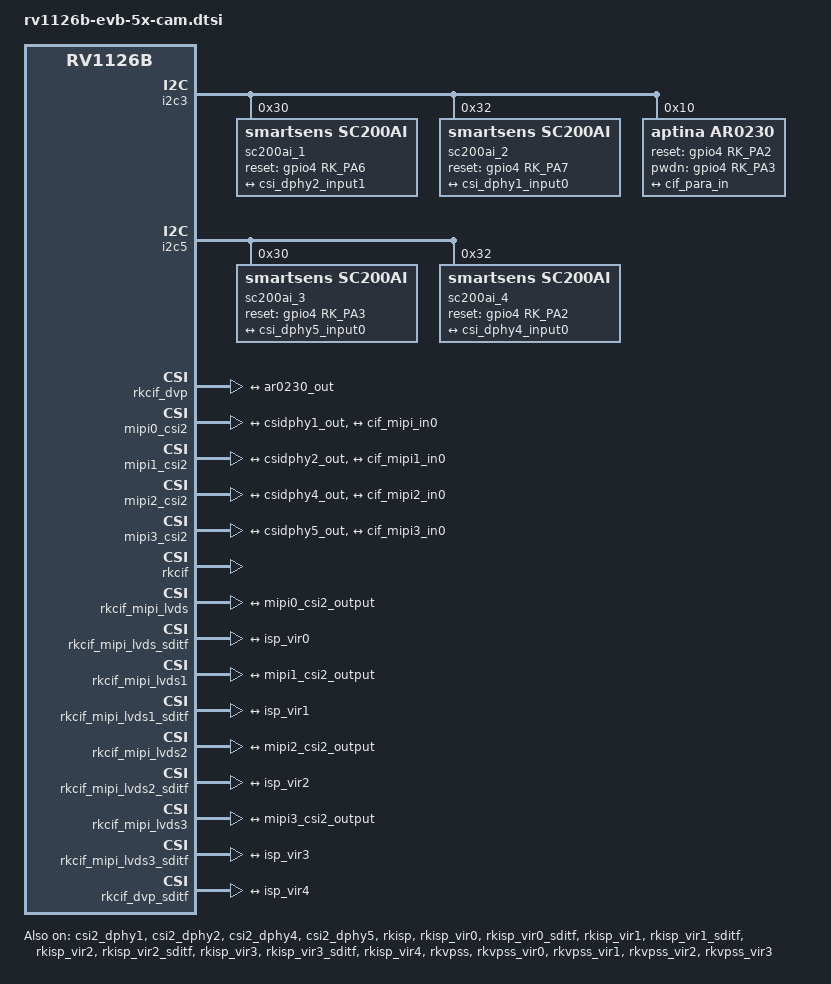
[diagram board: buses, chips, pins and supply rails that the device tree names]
// SPDX-License-Identifier: (GPL-2.0+ OR MIT)
/*
 * Copyright (c) 2025 Rockchip Electronics Co., Ltd.
 *
 */

/*
 * csi2_dphy1 -> csi0(rx0) clk0 + 2 lane 0/1
 * csi2_dphy2 -> csi0(rx0) clk1 + 2 lane 2/3
 * csi2_dphy4 -> csi1(rx1) clk0 + 2 lane 0/1
 * csi2_dphy5 -> csi1(rx1) clk1 + 2 lane 2/3
 */

&csi2_dphy1 {
	status = "okay";

	ports {
		#address-cells = <1>;
		#size-cells = <0>;
		port@0 {
			reg = <0>;
			#address-cells = <1>;
			#size-cells = <0>;

			csi_dphy1_input0: endpoint@1 {
				reg = <1>;
				remote-endpoint = <&sc200ai_2_out>;
				data-lanes = <1 2>;
			};
		};
		port@1 {
			reg = <1>;
			#address-cells = <1>;
			#size-cells = <0>;

			csidphy1_out: endpoint@0 {
				reg = <0>;
				remote-endpoint = <&mipi0_csi2_input>;
			};
		};
	};
};

&csi2_dphy2 {
	status = "okay";

	ports {
		#address-cells = <1>;
		#size-cells = <0>;
		port@0 {
			reg = <0>;
			#address-cells = <1>;
			#size-cells = <0>;

			csi_dphy2_input1: endpoint@1 {
				reg = <1>;
				remote-endpoint = <&sc200ai_1_out>;
				data-lanes = <1 2>;
			};
		};
		port@1 {
			reg = <1>;
			#address-cells = <1>;
			#size-cells = <0>;

			csidphy2_out: endpoint@0 {
				reg = <0>;
				remote-endpoint = <&mipi1_csi2_input>;
			};
		};
	};
};

&csi2_dphy4 {
	status = "okay";

	ports {
		#address-cells = <1>;
		#size-cells = <0>;
		port@0 {
			reg = <0>;
			#address-cells = <1>;
			#size-cells = <0>;

			csi_dphy4_input0: endpoint@1 {
				reg = <1>;
				remote-endpoint = <&sc200ai_4_out>;
				data-lanes = <1 2>;
			};
		};
		port@1 {
			reg = <1>;
			#address-cells = <1>;
			#size-cells = <0>;

			csidphy4_out: endpoint@0 {
				reg = <0>;
				remote-endpoint = <&mipi2_csi2_input>;
			};
		};
	};
};

&csi2_dphy5 {
	status = "okay";

	ports {
		#address-cells = <1>;
		#size-cells = <0>;
		port@0 {
			reg = <0>;
			#address-cells = <1>;
			#size-cells = <0>;

			csi_dphy5_input0: endpoint@1 {
				reg = <1>;
				remote-endpoint = <&sc200ai_5_out>;
				data-lanes = <1 2>;
			};

		};
		port@1 {
			reg = <1>;
			#address-cells = <1>;
			#size-cells = <0>;

			csidphy5_out: endpoint@0 {
				reg = <0>;
				remote-endpoint = <&mipi3_csi2_input>;
			};
		};
	};
};


&i2c3 {
	status = "okay";
	pinctrl-0 = <&i2c3m1_pins>;

	sc200ai_1: sc200ai-1@30 {
		compatible = "smartsens,sc200ai";
		status = "okay";
		reg = <0x30>;
		clocks = <&cru CLK_MIPI1_OUT2IO>;
		clock-names = "xvclk";
		reset-gpios = <&gpio4 RK_PA6 GPIO_ACTIVE_HIGH>;
		// pwdn-gpios = <&gpio4 RK_PA3 GPIO_ACTIVE_HIGH>;
		pinctrl-names = "default";
		pinctrl-0 = <&cam_clk1_pins>;
		rockchip,camera-module-index = <1>;
		rockchip,camera-module-facing = "back";
		rockchip,camera-module-name = "default";
		rockchip,camera-module-lens-name = "default";
		// rockchip,camera-module-sync-mode = "internal_master";
		port {
			sc200ai_1_out: endpoint {
				remote-endpoint = <&csi_dphy2_input1>;
				data-lanes = <1 2>;
			};
		};
	};

	sc200ai_2: sc200ai-2@32 {
		compatible = "smartsens,sc200ai";
		status = "okay";
		reg = <0x32>;
		clocks = <&cru CLK_MIPI0_OUT2IO>;
		clock-names = "xvclk";
		reset-gpios = <&gpio4 RK_PA7 GPIO_ACTIVE_HIGH>;
		// pwdn-gpios = <&gpio4 RK_PA2 GPIO_ACTIVE_HIGH>;
		pinctrl-names = "default";
		pinctrl-0 = <&cam_clk0_pins>;
		rockchip,camera-module-index = <0>;
		rockchip,camera-module-facing = "back";
		rockchip,camera-module-name = "default";
		rockchip,camera-module-lens-name = "default";
		// rockchip,camera-module-sync-mode = "external_master";
		port {
			sc200ai_2_out: endpoint {
				remote-endpoint = <&csi_dphy1_input0>;
				data-lanes = <1 2>;
			};
		};
	};


	ar0230: ar0230@10 {
		compatible = "aptina,ar0230";
		reg = <0x10>;
		clocks = <&cru CLK_CIF_OUT2IO>;
		clock-names = "xvclk";
		reset-gpios = <&gpio4 RK_PA2 GPIO_ACTIVE_HIGH>;
		pwdn-gpios = <&gpio4 RK_PA3 GPIO_ACTIVE_HIGH>;
		pinctrl-names = "default";
		// pinctrl-0 = <&vi_cifm0_pins>;
		rockchip,camera-module-index = <4>;
		rockchip,camera-module-facing = "back";
		rockchip,camera-module-name = "default";
		rockchip,camera-module-lens-name = "default";
		port {
		       ar0230_out: endpoint {
			       remote-endpoint = <&cif_para_in>;
		       };
		};
	};
};

&i2c5 {
	status = "okay";
	pinctrl-0 = <&i2c5m3_pins>;

	sc200ai_3: sc200ai-3@30 {
		compatible = "smartsens,sc200ai";
		status = "okay";
		reg = <0x30>;
		clocks = <&cru CLK_MIPI3_OUT2IO>;
		clock-names = "xvclk";
		/* pwdn need connect to reset */
		reset-gpios = <&gpio4 RK_PA3 GPIO_ACTIVE_HIGH>;
		pinctrl-names = "default";
		pinctrl-0 = <&cam_clk3_pins>;
		rockchip,camera-module-index = <3>;
		rockchip,camera-module-facing = "back";
		rockchip,camera-module-name = "default";
		rockchip,camera-module-lens-name = "default";
		// rockchip,camera-module-sync-mode = "external_master";
		port {
			sc200ai_5_out: endpoint {
				remote-endpoint = <&csi_dphy5_input0>;
				data-lanes = <1 2>;
			};
		};
	};
	sc200ai_4: sc200ai-4@32 {
		compatible = "smartsens,sc200ai";
		status = "okay";
		reg = <0x32>;
		clocks = <&cru CLK_MIPI2_OUT2IO>;
		clock-names = "xvclk";
		/* pwdn need connect to reset */
		reset-gpios = <&gpio4 RK_PA2 GPIO_ACTIVE_HIGH>;
		pinctrl-names = "default";
		pinctrl-0 = <&cam_clk2_pins>;
		rockchip,camera-module-index = <2>;
		rockchip,camera-module-facing = "back";
		rockchip,camera-module-name = "default";
		rockchip,camera-module-lens-name = "default";
		// rockchip,camera-module-sync-mode = "external_master";
		port {
			sc200ai_4_out: endpoint {
				remote-endpoint = <&csi_dphy4_input0>;
				data-lanes = <1 2>;
			};
		};
	};
};

&rkcif_dvp {
	status = "okay";

	/* configure according to pinctrl */
	cif-pins-group = <0>;

	pinctrl-names = "default";
	pinctrl-0 = <&vi_cifm0_pins>;
	port {
		#address-cells = <1>;
		#size-cells = <0>;

		/* Parallel bus endpoint */
		cif_para_in: endpoint@1 {
			reg = <1>;
			remote-endpoint = <&ar0230_out>;
		};
	};
};

&mipi0_csi2 {
	status = "okay";

	ports {
		#address-cells = <1>;
		#size-cells = <0>;

		port@0 {
			reg = <0>;
			#address-cells = <1>;
			#size-cells = <0>;

			mipi0_csi2_input: endpoint@1 {
				reg = <1>;
				remote-endpoint = <&csidphy1_out>;
			};
		};

		port@1 {
			reg = <1>;
			#address-cells = <1>;
			#size-cells = <0>;

			mipi0_csi2_output: endpoint@0 {
				reg = <0>;
				remote-endpoint = <&cif_mipi_in0>;
			};
		};
	};
};

&mipi1_csi2 {
	status = "okay";

	ports {
		#address-cells = <1>;
		#size-cells = <0>;

		port@0 {
			reg = <0>;
			#address-cells = <1>;
			#size-cells = <0>;

			mipi1_csi2_input: endpoint@1 {
				reg = <1>;
				remote-endpoint = <&csidphy2_out>;
			};
		};

		port@1 {
			reg = <1>;
			#address-cells = <1>;
			#size-cells = <0>;

			mipi1_csi2_output: endpoint@0 {
				reg = <0>;
				remote-endpoint = <&cif_mipi1_in0>;
			};
		};
	};
};

&mipi2_csi2 {
	status = "okay";

	ports {
		#address-cells = <1>;
		#size-cells = <0>;

		port@0 {
			reg = <0>;
			#address-cells = <1>;
			#size-cells = <0>;

			mipi2_csi2_input: endpoint@1 {
				reg = <1>;
				remote-endpoint = <&csidphy4_out>;
			};
		};

		port@1 {
			reg = <1>;
			#address-cells = <1>;
			#size-cells = <0>;

			mipi2_csi2_output: endpoint@0 {
				reg = <0>;
				remote-endpoint = <&cif_mipi2_in0>;
			};
		};
	};
};

&mipi3_csi2 {
	status = "okay";

	ports {
		#address-cells = <1>;
		#size-cells = <0>;

		port@0 {
			reg = <0>;
			#address-cells = <1>;
			#size-cells = <0>;

			mipi3_csi2_input: endpoint@1 {
				reg = <1>;
				remote-endpoint = <&csidphy5_out>;
			};
		};

		port@1 {
			reg = <1>;
			#address-cells = <1>;
			#size-cells = <0>;

			mipi3_csi2_output: endpoint@0 {
				reg = <0>;
				remote-endpoint = <&cif_mipi3_in0>;
			};
		};
	};
};

&rkcif {
	status = "okay";
};

&rkcif_mipi_lvds {
	status = "okay";

	port {
		cif_mipi_in0: endpoint {
			remote-endpoint = <&mipi0_csi2_output>;
		};
	};
};

&rkcif_mipi_lvds_sditf {
	status = "okay";

	port {
		mipi_lvds_sditf: endpoint {
			remote-endpoint = <&isp_vir0>;
		};
	};
};

&rkcif_mipi_lvds1 {
	status = "okay";

	port {
		cif_mipi1_in0: endpoint {
			remote-endpoint = <&mipi1_csi2_output>;
		};
	};
};

&rkcif_mipi_lvds1_sditf {
	status = "okay";

	port {
		mipi_lvds1_sditf: endpoint {
			remote-endpoint = <&isp_vir1>;
		};
	};
};

&rkcif_mipi_lvds2 {
	status = "okay";

	port {
		cif_mipi2_in0: endpoint {
			remote-endpoint = <&mipi2_csi2_output>;
		};
	};
};

&rkcif_mipi_lvds2_sditf {
	status = "okay";

	port {
		mipi_lvds2_sditf: endpoint {
			remote-endpoint = <&isp_vir2>;
		};
	};
};

&rkcif_mipi_lvds3 {
	status = "okay";

	port {
		cif_mipi3_in0: endpoint {
			remote-endpoint = <&mipi3_csi2_output>;
		};
	};
};

&rkcif_mipi_lvds3_sditf {
	status = "okay";

	port {
		mipi_lvds3_sditf: endpoint {
			remote-endpoint = <&isp_vir3>;
		};
	};
};

&rkcif_mmu {
	status = "okay";
};

&rkcif_dvp_sditf {
	status = "okay";

	port {
		dvp_sditf: endpoint {
			remote-endpoint = <&isp_vir4>;
		};
	};
};

&rkisp {
	status = "okay";
};

&rkisp_mmu {
	status = "okay";
};

&rkisp_vir0 {
	status = "okay";

	port {
		#address-cells = <1>;
		#size-cells = <0>;

		isp_vir0: endpoint@0 {
			reg = <0>;
			remote-endpoint = <&mipi_lvds_sditf>;
		};
	};
};

&rkisp_vir0_sditf {
	status = "okay";
};

&rkisp_vir1 {
	status = "okay";

	port {
		#address-cells = <1>;
		#size-cells = <0>;

		isp_vir1: endpoint@0 {
			reg = <0>;
			remote-endpoint = <&mipi_lvds1_sditf>;
		};
	};
};

&rkisp_vir1_sditf {
	status = "okay";
};

&rkisp_vir2 {
	status = "okay";

	port {
		#address-cells = <1>;
		#size-cells = <0>;

		isp_vir2: endpoint@0 {
			reg = <0>;
			remote-endpoint = <&mipi_lvds2_sditf>;
		};
	};
};

&rkisp_vir2_sditf {
	status = "okay";
};

&rkisp_vir3 {
	status = "okay";

	port {
		#address-cells = <1>;
		#size-cells = <0>;

		isp_vir3: endpoint@0 {
			reg = <0>;
			remote-endpoint = <&mipi_lvds3_sditf>;
		};
	};
};

&rkisp_vir3_sditf {
	status = "okay";
};

&rkisp_vir4 {
	status = "okay";

	port {
		#address-cells = <1>;
		#size-cells = <0>;

		isp_vir4: endpoint@0 {
			reg = <0>;
			remote-endpoint = <&dvp_sditf>;
		};
	};
};


&rkvpss {
	status = "okay";
	dvbm = <&rkdvbm>;
};

&rkvpss_mmu {
	status = "okay";
};

&rkvpss_vir0 {
	status = "okay";
};

&rkvpss_vir1 {
	status = "okay";
};

&rkvpss_vir2 {
	status = "okay";
};

&rkvpss_vir3 {
	status = "okay";
};
